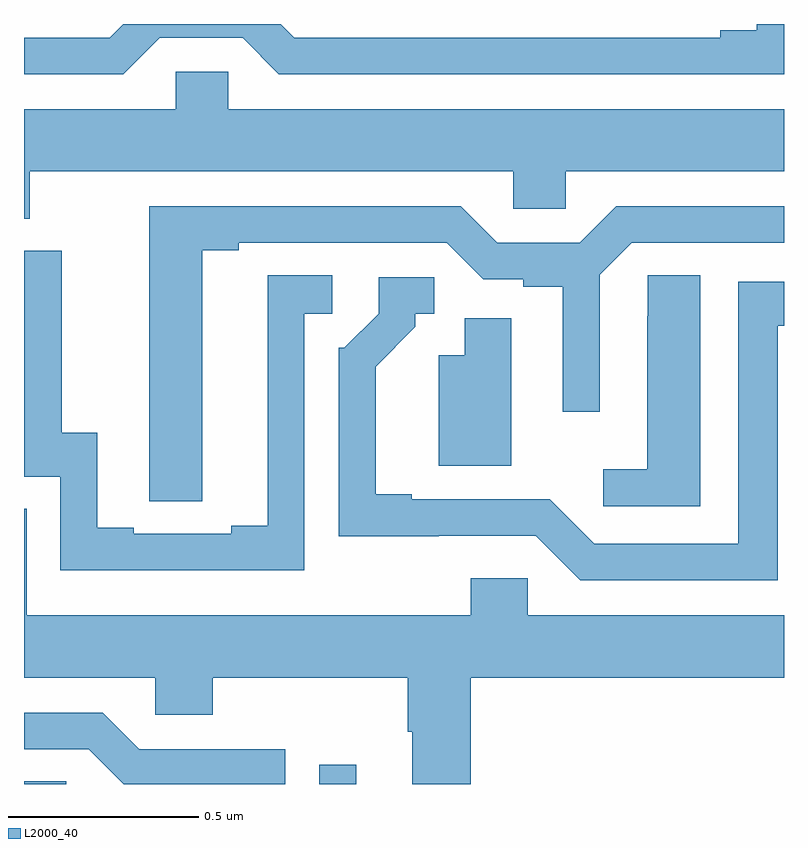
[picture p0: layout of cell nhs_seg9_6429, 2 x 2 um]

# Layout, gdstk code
import gdstk
lib = gdstk.Library(unit=1e-6, precision=1e-09)
def R(c, l, rs):  # rectangles x0, y0, x1, y1
    for r in rs: c.add(gdstk.rectangle(r[:2], r[2:], *l))
def P(c, l, *ps):  # polygons
    for p in ps: c.add(gdstk.Polygon(p, *l))
L2000_40 = (2000, 40)

nhs_seg9_6429 = lib.new_cell('nhs_seg9_6429')
R(nhs_seg9_6429, L2000_40, [(192,1169.5,192.111,1169.507), (192.777,1169.5,192.874,1169.551)])
P(nhs_seg9_6429, L2000_40, [(192.357,1171.464),(192.575,1171.464),(192.671,1171.368),(194,1171.368),(194,1171.5),(193.928,1171.5),(193.928,1171.484),(193.832,1171.484),(193.832,1171.464),(192.711,1171.464),(192.675,1171.5),(192.261,1171.5),(192.225,1171.464),(192,1171.464),(192,1171.368),(192.261,1171.368)],
  [(192.015,1171.112),(193.287,1171.112),(193.287,1171.014),(193.425,1171.014),(193.425,1171.112),(194,1171.112),(194,1171.276),(192.537,1171.276),(192.537,1171.374),(192.399,1171.374),(192.399,1171.276),(192,1171.276),(192,1170.988),(192.015,1170.988)],
  [(192.469,1170.904),(192.565,1170.904),(192.565,1170.924),(193.113,1170.924),(193.209,1170.828),(193.314,1170.828),(193.314,1170.808),(193.418,1170.808),(193.418,1170.48),(193.515,1170.48),(193.515,1170.84),(193.599,1170.924),(194,1170.924),(194,1171.02),(193.559,1171.02),(193.463,1170.924),(193.245,1170.924),(193.149,1171.02),(192.329,1171.02),(192.329,1170.352),(192.33,1170.352),(192.33,1170.244),(192.469,1170.244)],
  [(192.738,1170.738),(192.811,1170.738),(192.811,1170.839),(192.641,1170.839),(192.641,1170.179),(192.545,1170.179),(192.545,1170.159),(192.289,1170.159),(192.289,1170.174),(192.193,1170.174),(192.193,1170.425),(192.099,1170.425),(192.099,1170.903),(192,1170.903),(192,1170.309),(192.096,1170.309),(192.096,1170.063),(192.738,1170.063)],
  [(193.78,1170.839),(193.641,1170.839),(193.641,1170.731),(193.64,1170.731),(193.64,1170.328),(193.524,1170.328),(193.524,1170.231),(193.78,1170.231)],
  [(193.984,1170.706),(194,1170.706),(194,1170.822),(193.88,1170.822),(193.88,1170.132),(193.5,1170.132),(193.383,1170.249),(193.021,1170.249),(193.021,1170.262),(192.925,1170.262),(192.925,1170.598),(193.03,1170.703),(193.03,1170.738),(193.08,1170.738),(193.08,1170.834),(192.933,1170.834),(192.933,1170.738),(192.843,1170.648),(192.828,1170.648),(192.828,1170.152),(193.091,1170.152),(193.091,1170.153),(193.347,1170.153),(193.464,1170.036),(193.984,1170.036)],
  [(193.282,1170.726),(193.16,1170.726),(193.16,1170.628),(193.091,1170.628),(193.091,1170.338),(193.282,1170.338)],
  [(193.175,1169.78),(194,1169.78),(194,1169.944),(193.326,1169.944),(193.326,1170.042),(193.175,1170.042),(193.175,1169.944),(192.007,1169.944),(192.007,1170.224),(192,1170.224),(192,1169.78),(192.345,1169.78),(192.345,1169.682),(192.497,1169.682),(192.497,1169.78),(193.01,1169.78),(193.01,1169.638),(193.022,1169.638),(193.022,1169.5),(193.175,1169.5)],
  [(192.687,1169.592),(192.303,1169.592),(192.207,1169.688),(192,1169.688),(192,1169.592),(192.171,1169.592),(192.263,1169.5),(192.687,1169.5)])

lib.write_gds('nhs_seg9_6429.gds')
